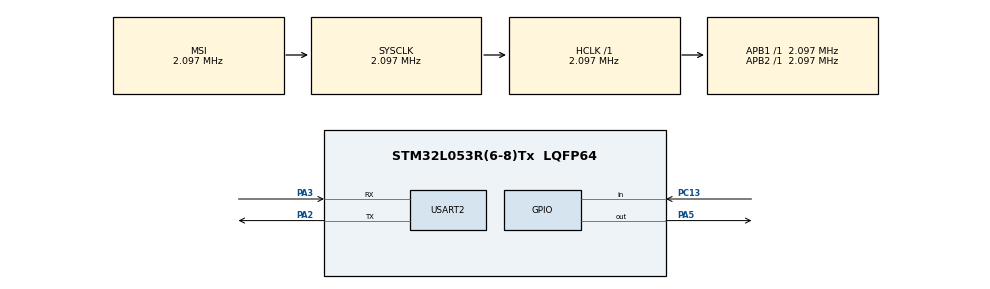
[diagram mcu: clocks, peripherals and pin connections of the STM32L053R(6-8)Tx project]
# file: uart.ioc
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Mcu.Family=STM32L0
Mcu.Name=STM32L053R(6-8)Tx
Mcu.Package=LQFP64
PA2.Mode=Asynchronous
PA2.Signal=USART2_TX
PA3.Mode=Asynchronous
PA3.Signal=USART2_RX
PA5.Signal=GPIO_Output
PC13.Signal=GPIO_Input
ProjectManager.HeapSize=0x200
ProjectManager.StackSize=0x400
ProjectManager.TargetToolchain=STM32CubeIDE
RCC.AHBFreq_Value=2097000
RCC.APB1Freq_Value=2097000
RCC.APB1TimFreq_Value=2097000
RCC.APB2Freq_Value=2097000
RCC.APB2TimFreq_Value=2097000
RCC.HSE_VALUE=8000000
RCC.HSI16_VALUE=16000000
RCC.HSI48_VALUE=48000000
RCC.HSI_VALUE=16000000
RCC.LSE_VALUE=32768
RCC.MSI_VALUE=2097000
RCC.SYSCLKFreq_VALUE=2097000
RCC.VCOOutputFreq_Value=48000000
USART2.VirtualMode-Asynchronous=VM_ASYNC
board=custom

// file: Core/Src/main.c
/* USER CODE BEGIN Header */
/**
  ******************************************************************************
  * @file           : main.c
  * @brief          : Main program body
  ******************************************************************************
  * @attention
  *
  * Copyright (c) 2023 STMicroelectronics.
  * All rights reserved.
  *
  * This software is licensed under terms that can be found in the LICENSE file
  * in the root directory of this software component.
  * If no LICENSE file comes with this software, it is provided AS-IS.
  *
  ******************************************************************************
  */
/* USER CODE END Header */
#include "main.h"

UART_HandleTypeDef huart2;

void SystemClock_Config(void);
static void MX_GPIO_Init(void);
static void MX_USART2_UART_Init(void);

int main(void)
{

  /* MCU Configuration--------------------------------------------------------*/

  /* Reset of all peripherals, Initializes the Flash interface and the Systick. */
  HAL_Init();

  /* Configure the system clock */
  SystemClock_Config();

  /* Initialize all configured peripherals */
  MX_GPIO_Init();
  MX_USART2_UART_Init();
  /* USER CODE BEGIN 2 */

  HAL_UART_Transmit(&huart2, "\033[0;0H", strlen("\033[0;0H"), HAL_MAX_DELAY);
  HAL_UART_Transmit(&huart2, "\033[2J", strlen("\033[2J"), HAL_MAX_DELAY);
  char pData;

  /* USER CODE END 2 */

  /* Infinite loop */
  /* USER CODE BEGIN WHILE */
  while (1)
  {
	  HAL_UART_Transmit(&huart2, "Enter an Integer: ", strlen("Enter an Integer: "), HAL_MAX_DELAY);
	  HAL_UART_Receive(&huart2, &pData, 1, HAL_MAX_DELAY);
	  HAL_UART_Transmit(&huart2, &pData, 1, HAL_MAX_DELAY);
	  HAL_UART_Transmit(&huart2, "\r\n", strlen("\r\n"), HAL_MAX_DELAY);

//	  HAL_UART_Transmit(&huart2, &pData, strlen(&pData), HAL_MAX_DELAY);

	  switch (atoi(&pData)) {
		  case 1:
			  HAL_GPIO_TogglePin(GPIOA, GPIO_PIN_5);
			  break;
		  case 2:
			  if(HAL_GPIO_ReadPin(GPIOC, GPIO_PIN_13) == GPIO_PIN_RESET) {
				  HAL_UART_Transmit(&huart2, "DOWN", strlen("DOWN"), HAL_MAX_DELAY);
				  HAL_UART_Transmit(&huart2, "\r\n", strlen("\r\n"), HAL_MAX_DELAY);
			  } else {
				  HAL_UART_Transmit(&huart2, "UP", strlen("UP"), HAL_MAX_DELAY);
				  HAL_UART_Transmit(&huart2, "\r\n", strlen("\r\n"), HAL_MAX_DELAY);
			  }
			  break;
		  default:
			  printf("Default value");
			  break;
	  }
    /* USER CODE END WHILE */

  }
}

void SystemClock_Config(void)
{
  RCC_OscInitTypeDef RCC_OscInitStruct = {0};
  RCC_ClkInitTypeDef RCC_ClkInitStruct = {0};
  RCC_PeriphCLKInitTypeDef PeriphClkInit = {0};

  /** Configure the main internal regulator output voltage
  */
  __HAL_PWR_VOLTAGESCALING_CONFIG(PWR_REGULATOR_VOLTAGE_SCALE1);

  /** Initializes the RCC Oscillators according to the specified parameters
  * in the RCC_OscInitTypeDef structure.
  */
  RCC_OscInitStruct.OscillatorType = RCC_OSCILLATORTYPE_MSI;
  RCC_OscInitStruct.MSIState = RCC_MSI_ON;
  RCC_OscInitStruct.MSICalibrationValue = 0;
  RCC_OscInitStruct.MSIClockRange = RCC_MSIRANGE_5;
  RCC_OscInitStruct.PLL.PLLState = RCC_PLL_NONE;
  if (HAL_RCC_OscConfig(&RCC_OscInitStruct) != HAL_OK)
  {
    Error_Handler();
  }

  /** Initializes the CPU, AHB and APB buses clocks
  */
  RCC_ClkInitStruct.ClockType = RCC_CLOCKTYPE_HCLK|RCC_CLOCKTYPE_SYSCLK
                              |RCC_CLOCKTYPE_PCLK1|RCC_CLOCKTYPE_PCLK2;
  RCC_ClkInitStruct.SYSCLKSource = RCC_SYSCLKSOURCE_MSI;
  RCC_ClkInitStruct.AHBCLKDivider = RCC_SYSCLK_DIV1;
  RCC_ClkInitStruct.APB1CLKDivider = RCC_HCLK_DIV1;
  RCC_ClkInitStruct.APB2CLKDivider = RCC_HCLK_DIV1;

  if (HAL_RCC_ClockConfig(&RCC_ClkInitStruct, FLASH_LATENCY_0) != HAL_OK)
  {
    Error_Handler();
  }
  PeriphClkInit.PeriphClockSelection = RCC_PERIPHCLK_USART2;
  PeriphClkInit.Usart2ClockSelection = RCC_USART2CLKSOURCE_PCLK1;
  if (HAL_RCCEx_PeriphCLKConfig(&PeriphClkInit) != HAL_OK)
  {
    Error_Handler();
  }
}

static void MX_USART2_UART_Init(void)
{

  huart2.Instance = USART2;
  huart2.Init.BaudRate = 115200;
  huart2.Init.WordLength = UART_WORDLENGTH_8B;
  huart2.Init.StopBits = UART_STOPBITS_1;
  huart2.Init.Parity = UART_PARITY_NONE;
  huart2.Init.Mode = UART_MODE_TX_RX;
  huart2.Init.HwFlowCtl = UART_HWCONTROL_NONE;
  huart2.Init.OverSampling = UART_OVERSAMPLING_16;
  huart2.Init.OneBitSampling = UART_ONE_BIT_SAMPLE_DISABLE;
  huart2.AdvancedInit.AdvFeatureInit = UART_ADVFEATURE_NO_INIT;
  if (HAL_UART_Init(&huart2) != HAL_OK)
  {
    Error_Handler();
  }

}

static void MX_GPIO_Init(void)
{
  GPIO_InitTypeDef GPIO_InitStruct = {0};

  /* GPIO Ports Clock Enable */
  __HAL_RCC_GPIOC_CLK_ENABLE();
  __HAL_RCC_GPIOA_CLK_ENABLE();

  /*Configure GPIO pin Output Level */
  HAL_GPIO_WritePin(GPIOA, GPIO_PIN_5, GPIO_PIN_RESET);

  /*Configure GPIO pin : PC13 */
  GPIO_InitStruct.Pin = GPIO_PIN_13;
  GPIO_InitStruct.Mode = GPIO_MODE_INPUT;
  GPIO_InitStruct.Pull = GPIO_NOPULL;
  HAL_GPIO_Init(GPIOC, &GPIO_InitStruct);

  /*Configure GPIO pin : PA5 */
  GPIO_InitStruct.Pin = GPIO_PIN_5;
  GPIO_InitStruct.Mode = GPIO_MODE_OUTPUT_PP;
  GPIO_InitStruct.Pull = GPIO_NOPULL;
  GPIO_InitStruct.Speed = GPIO_SPEED_FREQ_LOW;
  HAL_GPIO_Init(GPIOA, &GPIO_InitStruct);

}

void Error_Handler(void)
{
  __disable_irq();
  while (1)
  {
  }
}
